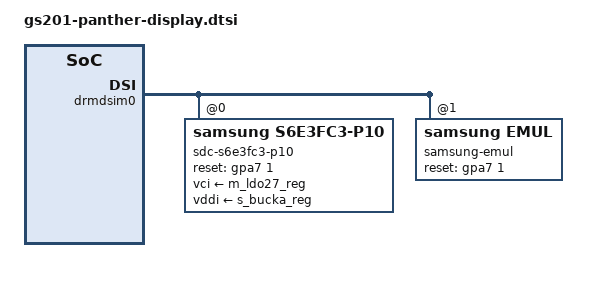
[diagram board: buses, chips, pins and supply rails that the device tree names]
// SPDX-License-Identifier: GPL-2.0-only
/*
 * Display nodes for slider-related boards.
 *
 * Copyright 2021 Google LLC
 *
 */

&drmdsim0 {
	sdc_s6e3fc3_p10: panel@0 {
		compatible = "samsung,s6e3fc3-p10";
		label = "sdc-s6e3fc3-p10";
		channel = <0>;

		/* reset, power */
		reset-gpios = <&gpa7 1 GPIO_ACTIVE_HIGH>;
		vci-supply = <&m_ldo27_reg>;
		vddi-supply = <&s_bucka_reg>;
		touch = <&spitouch>;
	};
	panel@1 {
		compatible = "samsung,emul";
		label = "samsung-emul";
		channel = <0>;

		/* reset, power */
		reset-gpios = <&gpa7 1 GPIO_ACTIVE_HIGH>;
	};
};


